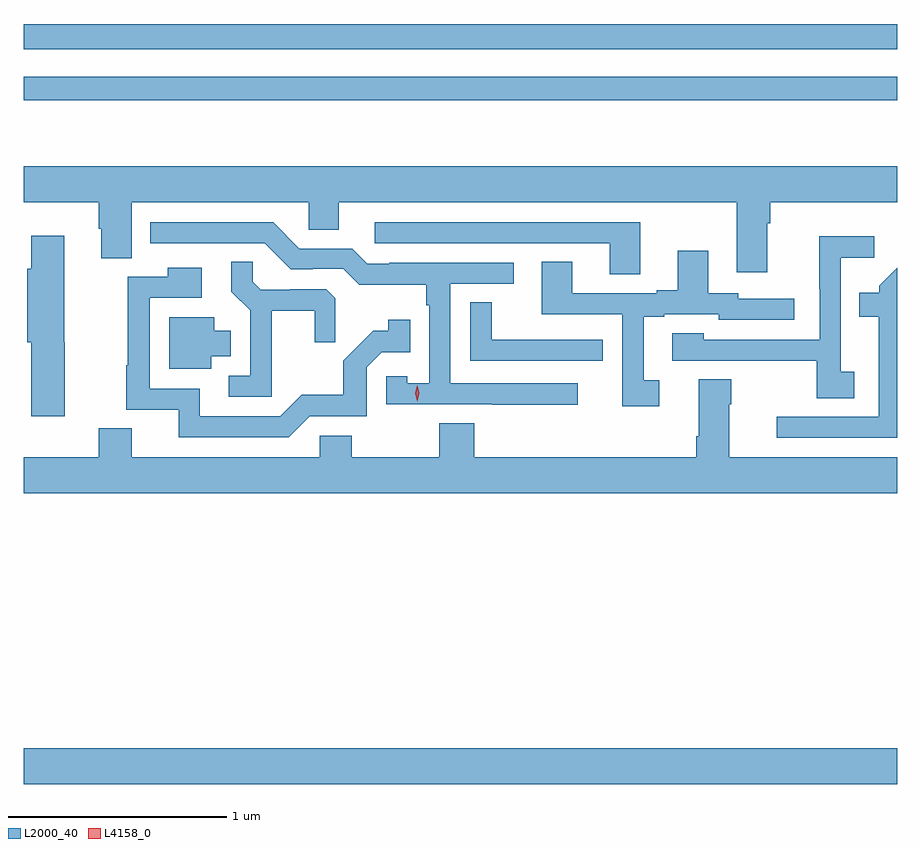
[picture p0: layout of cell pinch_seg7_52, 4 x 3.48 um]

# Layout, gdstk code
import gdstk
lib = gdstk.Library(unit=1e-6, precision=1e-09)
def R(c, l, rs):  # rectangles x0, y0, x1, y1
    for r in rs: c.add(gdstk.rectangle(r[:2], r[2:], *l))
def P(c, l, *ps):  # polygons
    for p in ps: c.add(gdstk.Polygon(p, *l))
L2000_40 = (2000, 40)
L4158_0 = (4158, 0)

pinch_seg7_52 = lib.new_cell('pinch_seg7_52')
R(pinch_seg7_52, L2000_40, [(897.916,1073.876,901.916,1074.04), (897.916,1077.006,901.916,1077.114), (897.916,1077.24,901.916,1077.356)])
P(pinch_seg7_52, L2000_40, [(897.916,1076.54),(898.259,1076.54),(898.259,1076.418),(898.271,1076.418),(898.271,1076.284),(898.411,1076.284),(898.411,1076.54),(899.22,1076.54),(899.22,1076.413),(899.359,1076.413),(899.359,1076.54),(901.181,1076.54),(901.181,1076.22),(901.321,1076.22),(901.321,1076.444),(901.334,1076.444),(901.334,1076.54),(901.916,1076.54),(901.916,1076.704),(897.916,1076.704)],
  [(900.739,1076.448),(899.523,1076.448),(899.523,1076.352),(900.599,1076.352),(900.599,1076.209),(900.739,1076.209)],
  [(900.454,1075.71),(899.868,1075.71),(899.868,1076.166),(900.16,1076.166),(900.16,1076.262),(899.59,1076.262),(899.59,1076.259),(899.49,1076.259),(899.421,1076.328),(899.178,1076.328),(899.058,1076.448),(898.496,1076.448),(898.496,1076.352),(899.019,1076.352),(899.139,1076.232),(899.24,1076.232),(899.24,1076.235),(899.379,1076.235),(899.452,1076.162),(899.76,1076.162),(899.76,1076.069),(899.772,1076.069),(899.772,1075.711),(899.673,1075.711),(899.673,1075.743),(899.577,1075.743),(899.577,1075.614),(900.061,1075.614),(900.061,1075.612),(900.454,1075.612)],
  [(898.104,1075.899),(898.102,1075.899),(898.102,1076.386),(897.95,1076.386),(897.95,1076.235),(897.932,1076.235),(897.932,1075.899),(897.95,1075.899),(897.95,1075.56),(898.104,1075.56)],
  [(901.72,1075.764),(901.656,1075.764),(901.656,1076.285),(901.81,1076.285),(901.81,1076.383),(901.558,1076.383),(901.558,1076.144),(901.56,1076.144),(901.56,1075.911),(901.029,1075.911),(901.029,1075.939),(900.885,1075.939),(900.885,1075.815),(901.243,1075.815),(901.243,1075.813),(901.548,1075.813),(901.548,1075.642),(901.72,1075.642)],
  [(900.826,1075.725),(900.754,1075.725),(900.754,1076.016),(900.85,1076.016),(900.85,1076.028),(901.098,1076.028),(901.098,1076.001),(901.444,1076.001),(901.444,1076.097),(901.188,1076.097),(901.188,1076.124),(901.051,1076.124),(901.051,1076.317),(900.911,1076.317),(900.911,1076.137),(900.815,1076.137),(900.815,1076.124),(900.427,1076.124),(900.427,1076.267),(900.287,1076.267),(900.287,1076.028),(900.657,1076.028),(900.657,1075.605),(900.826,1075.605)],
  [(899.051,1076.042),(899.248,1076.042),(899.248,1075.899),(899.342,1075.899),(899.342,1076.101),(899.301,1076.142),(899.136,1076.142),(899.136,1076.139),(899.002,1076.139),(898.965,1076.176),(898.965,1076.267),(898.867,1076.267),(898.867,1076.131),(898.953,1076.045),(898.953,1075.746),(898.854,1075.746),(898.854,1075.65),(899.051,1075.65)],
  [(901.916,1076.24),(901.833,1076.157),(901.833,1076.125),(901.741,1076.125),(901.741,1076.016),(901.832,1076.016),(901.832,1075.557),(901.365,1075.557),(901.365,1075.461),(901.916,1075.461)],
  [(899.226,1075.56),(899.487,1075.56),(899.487,1075.785),(899.556,1075.854),(899.687,1075.854),(899.687,1076.002),(899.586,1076.002),(899.586,1075.952),(899.516,1075.952),(899.379,1075.814),(899.379,1075.659),(899.19,1075.659),(899.091,1075.56),(898.723,1075.56),(898.723,1075.686),(898.494,1075.686),(898.494,1076.103),(898.732,1076.103),(898.732,1076.239),(898.576,1076.239),(898.576,1076.199),(898.393,1076.199),(898.393,1075.793),(898.386,1075.793),(898.386,1075.59),(898.625,1075.59),(898.625,1075.464),(899.13,1075.464)],
  [(900.568,1075.91),(900.455,1075.91),(900.455,1075.911),(900.06,1075.911),(900.06,1076.081),(899.961,1076.081),(899.961,1075.815),(900.568,1075.815)],
  [(898.774,1075.835),(898.864,1075.835),(898.864,1075.951),(898.789,1075.951),(898.789,1076.014),(898.583,1076.014),(898.583,1075.778),(898.774,1075.778)],
  [(901.916,1075.372),(901.147,1075.372),(901.147,1075.616),(901.155,1075.616),(901.155,1075.729),(901.007,1075.729),(901.007,1075.468),(900.995,1075.468),(900.995,1075.372),(899.978,1075.372),(899.978,1075.529),(899.818,1075.529),(899.818,1075.372),(899.418,1075.372),(899.418,1075.47),(899.271,1075.47),(899.271,1075.372),(898.411,1075.372),(898.411,1075.505),(898.259,1075.505),(898.259,1075.372),(897.916,1075.372),(897.916,1075.208),(901.916,1075.208)])
P(pinch_seg7_52, L4158_0, [(899.718,1075.629),(899.718,1075.629),(899.708,1075.665),(899.718,1075.701),(899.718,1075.701),(899.718,1075.701),(899.728,1075.665),(899.718,1075.629)])

lib.write_gds('pinch_seg7_52.gds')
